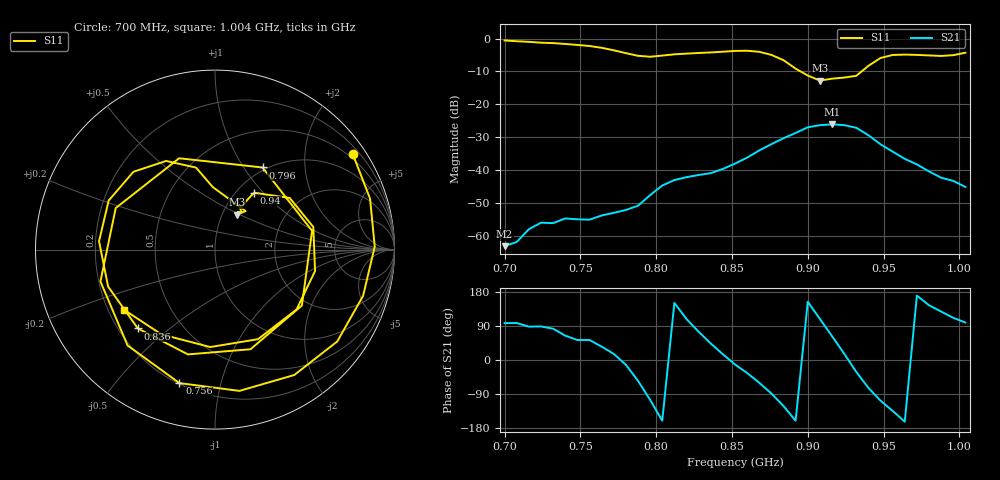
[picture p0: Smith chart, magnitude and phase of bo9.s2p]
# Hz S RI R 50
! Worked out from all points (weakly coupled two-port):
!   39 points, 700 MHz to 1.004 GHz, reference 50 ohm
!   highest |S21| = -26.07 dB at 916 MHz (marker M1); lowest = -63.1 dB at 700 MHz (marker M2)
!   lowest |S11| = -12.8 dB at 908 MHz (marker M3), VSWR 1.60, Z = 58.6 + j24.1 ohm
!   |S11| at or under -10 dB: 895.3 MHz to 935.5 MHz (40.25 MHz wide, 4.4 % of centre)
!   S12 and S22 are empty: the file has one direction only
!   S11 on the Smith chart (normalised r, x): 700 MHz: 0.38, +3.15; 756 MHz: 0.20, -0.75; 796 MHz: 0.96, +1.22; 836 MHz: 0.28, -0.39; 940 MHz: 1.20, +0.89; 1.004 GHz: 0.26, -0.28
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7e8  0.7671 0.5333  -8.8e-05 0.000698  0 0  0 0
7.24e8  0.825 -0.2578  4.01e-05 0.0016  0 0  0 0
7.4e8  0.4417 -0.6987  0.000807 0.00167  0 0  0 0
7.56e8  -0.198 -0.7439  0.00108 0.00141  0 0  0 0
7.72e8  -0.6382 -0.1774  0.00217 0.000628  0 0  0 0
7.8e8  -0.5531 0.2314  0.00243 -0.000543  0 0  0 0
7.88e8  -0.1997 0.5088  0.00167 -0.00237  0 0  0 0
7.96e8  0.2647 0.4575  -0.00109 -0.00404  0 0  0 0
8.04e8  0.5409 0.1044  -0.00552 -0.00199  0 0  0 0
8.12e8  0.4839 -0.3117  -0.00618 0.00348  0 0  0 0
8.2e8  0.1978 -0.5552  -0.00244 0.00745  0 0  0 0
8.36e8  -0.4299 -0.4394  0.00655 0.00623  0 0  0 0
8.52e8  -0.6461 0.0465  0.0123 -0.00257  0 0  0 0
8.76e8  -0.2722 0.4939  0.000704 -0.0249  0 0  0 0
9e8  0.1706 0.2147  -0.0402 0.0199  0 0  0 0
9.08e8  0.1221 0.1947  -0.0153 0.0459  0 0  0 0
9.16e8  0.1271 0.2101  0.0226 0.0443  0 0  0 0
9.4e8  0.2173 0.3171  0.00962 -0.0326  0 0  0 0
9.56e8  0.5478 0.1258  -0.0134 -0.0137  0 0  0 0
9.64e8  0.5575 -0.1193  -0.0142 -0.0044  0 0  0 0
9.8e8  0.2396 -0.4991  -0.00782 0.00558  0 0  0 0
1.004e9  -0.5081 -0.3342  -0.00087 0.00551  0 0  0 0
